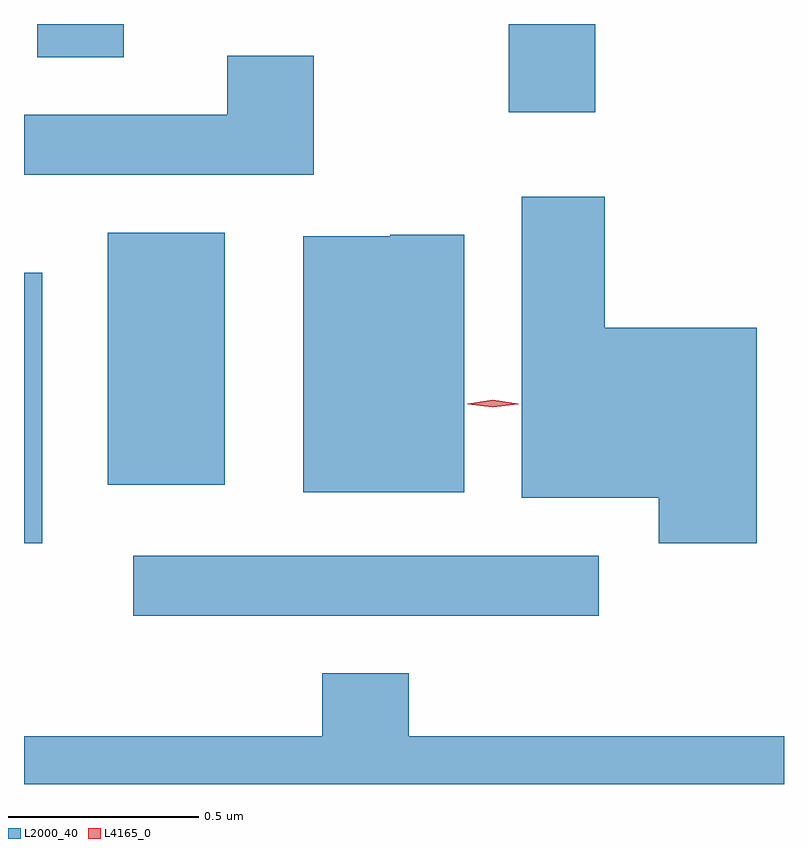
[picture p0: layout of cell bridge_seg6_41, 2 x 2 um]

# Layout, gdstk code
import gdstk
lib = gdstk.Library(unit=1e-6, precision=1e-09)
def R(c, l, rs):  # rectangles x0, y0, x1, y1
    for r in rs: c.add(gdstk.rectangle(r[:2], r[2:], *l))
def P(c, l, *ps):  # polygons
    for p in ps: c.add(gdstk.Polygon(p, *l))
L2000_40 = (2000, 40)
L4165_0 = (4165, 0)

bridge_seg6_41 = lib.new_cell('bridge_seg6_41')
R(bridge_seg6_41, L2000_40, [(1609.893,1654.961,1611.118,1655.119), (1609.606,1655.151,1609.654,1655.864), (1609.826,1655.306,1610.134,1655.969), (1610.881,1656.286,1611.109,1656.518), (1609.641,1656.431,1609.869,1656.518)])
P(bridge_seg6_41, L2000_40, [(1610.369,1656.434),(1610.141,1656.434),(1610.141,1656.279),(1609.606,1656.279),(1609.606,1656.121),(1610.369,1656.121)],
  [(1611.534,1655.719),(1611.134,1655.719),(1611.134,1656.064),(1610.916,1656.064),(1610.916,1655.271),(1611.276,1655.271),(1611.276,1655.151),(1611.534,1655.151)],
  [(1610.764,1655.964),(1610.57,1655.964),(1610.57,1655.959),(1610.341,1655.959),(1610.341,1655.286),(1610.764,1655.286)],
  [(1611.606,1654.644),(1610.619,1654.644),(1610.619,1654.809),(1610.391,1654.809),(1610.391,1654.644),(1609.606,1654.644),(1609.606,1654.518),(1611.606,1654.518)])
P(bridge_seg6_41, L4165_0, [(1610.84,1655.509),(1610.774,1655.518),(1610.773,1655.519),(1610.774,1655.519),(1610.84,1655.529),(1610.906,1655.519),(1610.907,1655.519),(1610.906,1655.518)])

lib.write_gds('bridge_seg6_41.gds')
